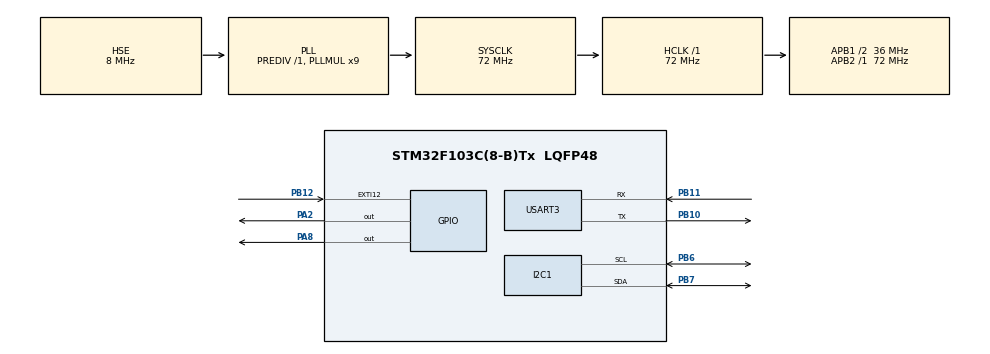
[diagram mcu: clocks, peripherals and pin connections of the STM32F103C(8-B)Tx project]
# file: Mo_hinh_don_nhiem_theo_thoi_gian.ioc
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Mcu.Family=STM32F1
Mcu.Name=STM32F103C(8-B)Tx
Mcu.Package=LQFP48
NVIC.EXTI15_10_IRQn=true\:0\:0\:false\:false\:true\:true\:true\:true
NVIC.PriorityGroup=NVIC_PRIORITYGROUP_4
NVIC.USART3_IRQn=true\:0\:0\:false\:false\:true\:true\:true\:true
PA13.Mode=Serial_Wire
PA13.Signal=SYS_JTMS-SWDIO
PA14.Mode=Serial_Wire
PA14.Signal=SYS_JTCK-SWCLK
PA2.Signal=GPIO_Output
PA8.Signal=GPIO_Output
PB10.Mode=Asynchronous
PB10.Signal=USART3_TX
PB11.Mode=Asynchronous
PB11.Signal=USART3_RX
PB12.GPIO_ModeDefaultEXTI=GPIO_MODE_IT_RISING_FALLING
PB12.Signal=GPXTI12
PB6.Mode=I2C
PB6.Signal=I2C1_SCL
PB7.Mode=I2C
PB7.Signal=I2C1_SDA
PD0-OSC_IN.Mode=HSE-External-Oscillator
PD0-OSC_IN.Signal=RCC_OSC_IN
PD1-OSC_OUT.Mode=HSE-External-Oscillator
PD1-OSC_OUT.Signal=RCC_OSC_OUT
ProjectManager.HeapSize=0x200
ProjectManager.StackSize=0x400
ProjectManager.TargetToolchain=STM32CubeIDE
RCC.AHBFreq_Value=72000000
RCC.APB1CLKDivider=RCC_HCLK_DIV2
RCC.APB1Freq_Value=36000000
RCC.APB1TimFreq_Value=72000000
RCC.APB2Freq_Value=72000000
RCC.APB2TimFreq_Value=72000000
RCC.HCLKFreq_Value=72000000
RCC.PLLMUL=RCC_PLL_MUL9
RCC.PLLSourceVirtual=RCC_PLLSOURCE_HSE
RCC.SYSCLKFreq_VALUE=72000000
RCC.SYSCLKSource=RCC_SYSCLKSOURCE_PLLCLK
RCC.USBFreq_Value=72000000
TIM1.Prescaler=63
USART3.VirtualMode=VM_ASYNC
VP_TIM1_VS_ClockSourceINT.Mode=Internal
board=custom

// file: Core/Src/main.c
/* USER CODE BEGIN Header */
/**
  ******************************************************************************
  * @file           : main.c
  * @brief          : Main program body
  ******************************************************************************
  * @attention
  *
  * Copyright (c) 2025 STMicroelectronics.
  * All rights reserved.
  *
  * This software is licensed under terms that can be found in the LICENSE file
  * in the root directory of this software component.
  * If no LICENSE file comes with this software, it is provided AS-IS.
  *
  ******************************************************************************
  */
/* USER CODE END Header */
#include "main.h"

/* USER CODE BEGIN Includes */
#include <stdio.h>
#include <stdint.h>
#include <string.h>
#include "dht22.h"
#include "I2C_LCD.h"
#include "stdio.h"
#include "hcsr04.h"
/* USER CODE END Includes */

/* USER CODE BEGIN PD */
#define MyI2C_LCD I2C_LCD_1
/* USER CODE END PD */

I2C_HandleTypeDef hi2c1;

TIM_HandleTypeDef htim1;

UART_HandleTypeDef huart3;

/* USER CODE BEGIN PV */
char buf1[16],buf2[16]; // 1 dòng LCD chỉ có 16 ký tự
float T,H;
float max_temperature = 27;
float min_temperature = 26;
long time_offset = 100,i=0;
uint8_t RX_data;
volatile uint8_t uartIndex = 0;
int start =0,LCD_print_wait=0;
/* USER CODE END PV */

void SystemClock_Config(void);
static void MX_GPIO_Init(void);
static void MX_USART3_UART_Init(void);
static void MX_I2C1_Init(void);
static void MX_TIM1_Init(void);

/* USER CODE BEGIN 0 */
#ifdef	__GNUC__
		#define PUTCHAR_PROTOTYPE int	__io_putchar(int ch)
#else
		#define PUTCHAR_PROTOTYPE int fputc(int ch, FILE *f)
#endif
 PUTCHAR_PROTOTYPE
{
	HAL_UART_Transmit(&huart3, (uint8_t *)&ch,1,0xFFFF);
	return ch;
}
 void SPTTS_Task1(void){
	 if (hc04_state == HCSR04_IDLE_STATE) {
	 	HCSR04_Start();
	 }
	 HCSR04_Handle();
	 sprintf(buf1,"D = %.1f cm", hcsr04_distance);
	 sprintf(buf2,"T=%.1f,H=%.1f", T,H);
	 I2C_LCD_Clear(MyI2C_LCD);
	 I2C_LCD_SetCursor(MyI2C_LCD, 0, 0);
	 I2C_LCD_WriteString(MyI2C_LCD, buf1);
	 I2C_LCD_SetCursor(MyI2C_LCD, 0, 1);
	 I2C_LCD_WriteString(MyI2C_LCD, buf2);
	 printf("D = %.1f\r\n",hcsr04_distance);
 }
 void SPTTS_Task2(void){
 	DHT22_Get_Humidity(&H);
 	sprintf(buf1,"D = %.1f cm", hcsr04_distance);
 	sprintf(buf2,"T=%.1f,H=%.1f", T,H);
 	I2C_LCD_SetCursor(MyI2C_LCD, 0, 0);
 	I2C_LCD_Clear(MyI2C_LCD);
 	I2C_LCD_WriteString(MyI2C_LCD, buf1);
 	I2C_LCD_SetCursor(MyI2C_LCD, 0, 11);
 	I2C_LCD_WriteString(MyI2C_LCD, buf2);
	printf("H = %.1f\r\n",H);
  }
 void SPTTS_Task3(void){
	 DHT22_Get_Temp(&T);
	 sprintf(buf1,"D = %.1f cm", hcsr04_distance);
	 sprintf(buf2,"T=%.1f,H=%.1f", T,H);
	 I2C_LCD_Clear(MyI2C_LCD);
	 I2C_LCD_SetCursor(MyI2C_LCD, 0, 0);
	 I2C_LCD_WriteString(MyI2C_LCD, buf1);
	 I2C_LCD_SetCursor(MyI2C_LCD, 0, 1);
	 I2C_LCD_WriteString(MyI2C_LCD, buf2);
	 printf("T = %.1f\r\n",T);
 }

/* USER CODE END 0 */

int main(void)
{

  /* MCU Configuration--------------------------------------------------------*/

  /* Reset of all peripherals, Initializes the Flash interface and the Systick. */
  HAL_Init();

  /* Configure the system clock */
  SystemClock_Config();

  /* Initialize all configured peripherals */
  MX_GPIO_Init();
  MX_USART3_UART_Init();
  MX_I2C1_Init();
  MX_TIM1_Init();
  /* USER CODE BEGIN 2 */
  CoreDebug->DEMCR |= CoreDebug_DEMCR_TRCENA_Msk;
  DWT->CTRL |= DWT_CTRL_CYCCNTENA_Msk;
  dht22_init();
  HCSR04_Init(&htim1);
  I2C_LCD_Init(MyI2C_LCD);
  HAL_UART_Receive_IT(&huart3, &RX_data, 1);
  /* USER CODE END 2 */

  /* Infinite loop */
  while (1)
  {

    /* USER CODE BEGIN 3 */
	  if(start){
	  if(uwTick<time_offset){
	 		 continue;
	 	 }
	 i=uwTick%1200;
	 if((0<=i&&i<60)||(240<=i&&i<300)||(420<=i&&i<480)||(600<=i&&i<660)||(840<=i&&i<900)||(1020<=i&&i<1080)){
		 SPTTS_Task1();
	 }
	 if((60<=i&&i<120)||(480<=i&&i<540)||(900<=i&&i<960)){
		 SPTTS_Task2();
		 }
	 if((120<=i&&i<180)||(660<=i&&i<720)){
		 SPTTS_Task3();
			 }
	  }
	  else {
		  if(!LCD_print_wait){
		  I2C_LCD_Clear(MyI2C_LCD);
		  I2C_LCD_SetCursor(MyI2C_LCD, 0, 0);
		  I2C_LCD_WriteString(MyI2C_LCD, "Press 1 to start");
		  LCD_print_wait = 1;
		  }
	  }
  }
  /* USER CODE END 3 */
}

void SystemClock_Config(void)
{
  RCC_OscInitTypeDef RCC_OscInitStruct = {0};
  RCC_ClkInitTypeDef RCC_ClkInitStruct = {0};

  /** Initializes the RCC Oscillators according to the specified parameters
  * in the RCC_OscInitTypeDef structure.
  */
  RCC_OscInitStruct.OscillatorType = RCC_OSCILLATORTYPE_HSE;
  RCC_OscInitStruct.HSEState = RCC_HSE_ON;
  RCC_OscInitStruct.HSEPredivValue = RCC_HSE_PREDIV_DIV1;
  RCC_OscInitStruct.HSIState = RCC_HSI_ON;
  RCC_OscInitStruct.PLL.PLLState = RCC_PLL_ON;
  RCC_OscInitStruct.PLL.PLLSource = RCC_PLLSOURCE_HSE;
  RCC_OscInitStruct.PLL.PLLMUL = RCC_PLL_MUL9;
  if (HAL_RCC_OscConfig(&RCC_OscInitStruct) != HAL_OK)
  {
    Error_Handler();
  }

  /** Initializes the CPU, AHB and APB buses clocks
  */
  RCC_ClkInitStruct.ClockType = RCC_CLOCKTYPE_HCLK|RCC_CLOCKTYPE_SYSCLK
                              |RCC_CLOCKTYPE_PCLK1|RCC_CLOCKTYPE_PCLK2;
  RCC_ClkInitStruct.SYSCLKSource = RCC_SYSCLKSOURCE_PLLCLK;
  RCC_ClkInitStruct.AHBCLKDivider = RCC_SYSCLK_DIV1;
  RCC_ClkInitStruct.APB1CLKDivider = RCC_HCLK_DIV2;
  RCC_ClkInitStruct.APB2CLKDivider = RCC_HCLK_DIV1;

  if (HAL_RCC_ClockConfig(&RCC_ClkInitStruct, FLASH_LATENCY_2) != HAL_OK)
  {
    Error_Handler();
  }
}

static void MX_I2C1_Init(void)
{

  hi2c1.Instance = I2C1;
  hi2c1.Init.ClockSpeed = 100000;
  hi2c1.Init.DutyCycle = I2C_DUTYCYCLE_2;
  hi2c1.Init.OwnAddress1 = 0;
  hi2c1.Init.AddressingMode = I2C_ADDRESSINGMODE_7BIT;
  hi2c1.Init.DualAddressMode = I2C_DUALADDRESS_DISABLE;
  hi2c1.Init.OwnAddress2 = 0;
  hi2c1.Init.GeneralCallMode = I2C_GENERALCALL_DISABLE;
  hi2c1.Init.NoStretchMode = I2C_NOSTRETCH_DISABLE;
  if (HAL_I2C_Init(&hi2c1) != HAL_OK)
  {
    Error_Handler();
  }

}

static void MX_TIM1_Init(void)
{

  TIM_ClockConfigTypeDef sClockSourceConfig = {0};
  TIM_MasterConfigTypeDef sMasterConfig = {0};

  htim1.Instance = TIM1;
  htim1.Init.Prescaler = 63;
  htim1.Init.CounterMode = TIM_COUNTERMODE_UP;
  htim1.Init.Period = 65535;
  htim1.Init.ClockDivision = TIM_CLOCKDIVISION_DIV1;
  htim1.Init.RepetitionCounter = 0;
  htim1.Init.AutoReloadPreload = TIM_AUTORELOAD_PRELOAD_DISABLE;
  if (HAL_TIM_Base_Init(&htim1) != HAL_OK)
  {
    Error_Handler();
  }
  sClockSourceConfig.ClockSource = TIM_CLOCKSOURCE_INTERNAL;
  if (HAL_TIM_ConfigClockSource(&htim1, &sClockSourceConfig) != HAL_OK)
  {
    Error_Handler();
  }
  sMasterConfig.MasterOutputTrigger = TIM_TRGO_RESET;
  sMasterConfig.MasterSlaveMode = TIM_MASTERSLAVEMODE_DISABLE;
  if (HAL_TIMEx_MasterConfigSynchronization(&htim1, &sMasterConfig) != HAL_OK)
  {
    Error_Handler();
  }

}

static void MX_USART3_UART_Init(void)
{

  huart3.Instance = USART3;
  huart3.Init.BaudRate = 115200;
  huart3.Init.WordLength = UART_WORDLENGTH_8B;
  huart3.Init.StopBits = UART_STOPBITS_1;
  huart3.Init.Parity = UART_PARITY_NONE;
  huart3.Init.Mode = UART_MODE_TX_RX;
  huart3.Init.HwFlowCtl = UART_HWCONTROL_NONE;
  huart3.Init.OverSampling = UART_OVERSAMPLING_16;
  if (HAL_UART_Init(&huart3) != HAL_OK)
  {
    Error_Handler();
  }

}

static void MX_GPIO_Init(void)
{
  GPIO_InitTypeDef GPIO_InitStruct = {0};

  /* GPIO Ports Clock Enable */
  __HAL_RCC_GPIOD_CLK_ENABLE();
  __HAL_RCC_GPIOA_CLK_ENABLE();
  __HAL_RCC_GPIOB_CLK_ENABLE();

  /*Configure GPIO pin Output Level */
  HAL_GPIO_WritePin(GPIOA, GPIO_PIN_2|GPIO_PIN_8, GPIO_PIN_RESET);

  /*Configure GPIO pins : PA2 PA8 */
  GPIO_InitStruct.Pin = GPIO_PIN_2|GPIO_PIN_8;
  GPIO_InitStruct.Mode = GPIO_MODE_OUTPUT_PP;
  GPIO_InitStruct.Pull = GPIO_NOPULL;
  GPIO_InitStruct.Speed = GPIO_SPEED_FREQ_LOW;
  HAL_GPIO_Init(GPIOA, &GPIO_InitStruct);

  /*Configure GPIO pin : PB12 */
  GPIO_InitStruct.Pin = GPIO_PIN_12;
  GPIO_InitStruct.Mode = GPIO_MODE_IT_RISING_FALLING;
  GPIO_InitStruct.Pull = GPIO_NOPULL;
  HAL_GPIO_Init(GPIOB, &GPIO_InitStruct);

  /* EXTI interrupt init*/
  HAL_NVIC_SetPriority(EXTI15_10_IRQn, 0, 0);
  HAL_NVIC_EnableIRQ(EXTI15_10_IRQn);

}

/* USER CODE BEGIN 4 */
void HAL_UART_RxCpltCallback(UART_HandleTypeDef *huart) {
    if (huart->Instance == huart3.Instance) {
    	switch (RX_data){
			case 48:
				start = 0; // Da nhan "0"
				LCD_print_wait = 0;
				break;
			case 49:
				start =1; // Da nhan "1"
				break;
			default:
				// Không hợp lệ, không thực hiện gì
				break;
    	 }
    	HAL_UART_Receive_IT(&huart3, &RX_data, 1);
    }
}
/* USER CODE END 4 */

void Error_Handler(void)
{
  __disable_irq();
  while (1)
  {
  }
}
